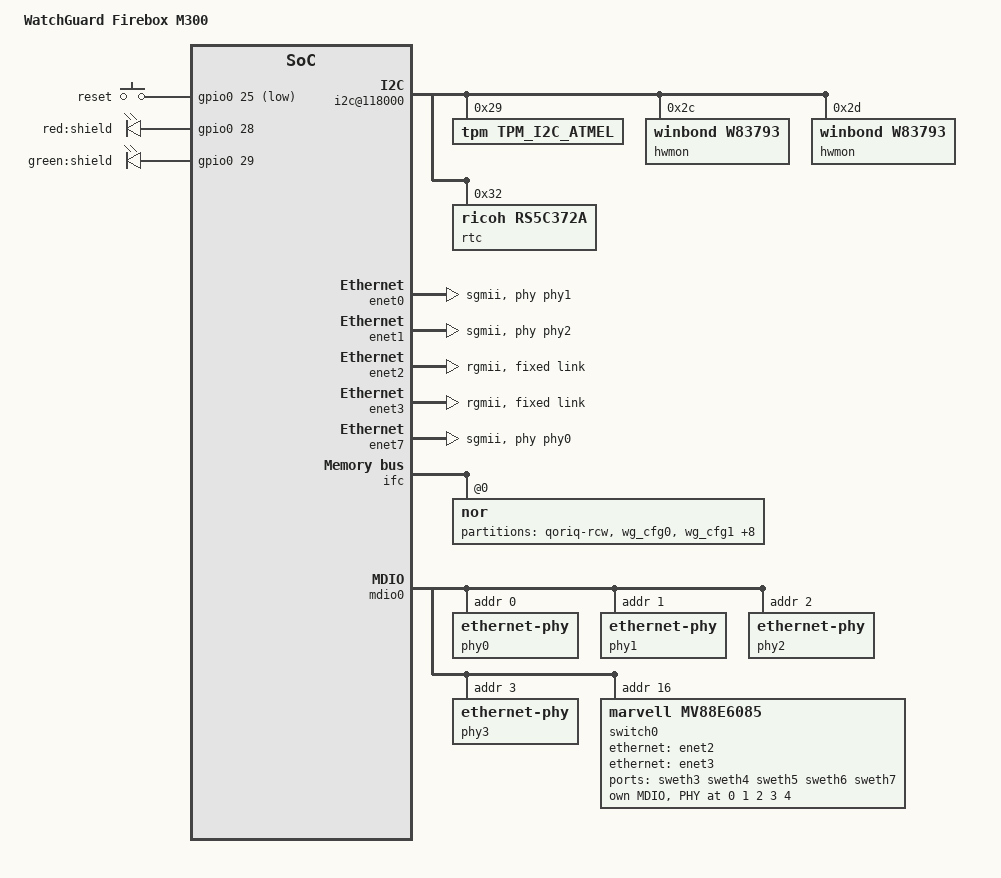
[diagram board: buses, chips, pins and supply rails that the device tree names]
// SPDX-License-Identifier: BSD-3-Clause OR GPL-2.0-or-later
/*
 * WatchGuard Firebox M300 Device Tree Source
 * Based on t2081qds.dts from Linux 5.10
 *
 * Copyright 2013 - 2015 Freescale Semiconductor Inc.
 * Copyright 2020 - 2021 Stijn Tintel <stijn@linux-ipv6.be>
 */

#include <dt-bindings/gpio/gpio.h>
#include <dt-bindings/input/input.h>

/include/ "t208xsi-pre.dtsi"
/include/ "t208xqds.dtsi"

/ {
	model = "WatchGuard Firebox M300";
	compatible = "watchguard,firebox-m300", "fsl,T2081QDS";

	interrupt-parent = <&mpic>;

	aliases {
		/delete-property/ ethernet0;
		/delete-property/ ethernet1;
		/delete-property/ ethernet2;
		/delete-property/ ethernet3;
		/delete-property/ ethernet4;
		/delete-property/ ethernet5;
		/delete-property/ ethernet6;
		/delete-property/ ethernet7;

		ethernet0 = &enet7;
		ethernet1 = &enet0;
		ethernet2 = &enet1;
		ethernet3 = &enet2;
		ethernet4 = &enet3;

		led-boot = &led_shield;
		led-failsafe = &led_shield;
		led-running = &led_shield;
		led-upgrade = &led_shield;
	};
};

&soc {
// Include first to make this the first interface
/include/ "qoriq-fman3-0-10g-1.dtsi"
};

// mdio-mux under &boardctrl + its aliases removed. causes crash:
// Oops: Machine check, sig: 7 [#1]

/include/ "t2081si-post.dtsi"

// add stuff below the include to make sure we override whatever is there

&enet0 {
	phy-connection-type = "sgmii";
	phy-handle = <&phy1>;
};

&enet1 {
	phy-connection-type = "sgmii";
	phy-handle = <&phy2>;
};

&enet2 {
	phy-connection-type = "rgmii";

	fixed-link {
		speed = <1000>;
		full-duplex;
	};
};

&enet3 {
	phy-connection-type = "rgmii";

	fixed-link {
		speed = <1000>;
		full-duplex;
	};
};

&enet4 {
	status = "disabled";
};

&enet5 {
	status = "disabled";
};

&enet6 {
	status = "disabled";
};

&enet7 {
	phy-connection-type = "sgmii";
	phy-handle = <&phy0>;
};

&ifc {
	ranges = <0x00 0x00 0x0f 0xefc00000 0x400000>;

	nor@0,0 {
		reg = <0x00 0x00 0x400000>;

		partition@0{
			reg = <0x0 0x10000>;
			label = "qoriq-rcw";
			read-only;
		};

		partition@10000 {
			reg = <0x10000 0x20000>;
			label = "wg_cfg0";
			read-only;

			nvmem-layout {
				compatible = "fixed-layout";
				#address-cells = <1>;
				#size-cells = <1>;

				macaddr_cfg_186c: macaddr@186c {
					compatible = "mac-base";
					reg = <0x186c 0x11>;
					#nvmem-cell-cells = <1>;
				};

				macaddr_cfg_1880: macaddr@1880 {
					compatible = "mac-base";
					reg = <0x1880 0x11>;
					#nvmem-cell-cells = <1>;
				};

				macaddr_cfg_1894: macaddr@1894 {
					compatible = "mac-base";
					reg = <0x1894 0x11>;
					#nvmem-cell-cells = <1>;
				};

				macaddr_cfg_18a8: macaddr@18a8 {
					compatible = "mac-base";
					reg = <0x18a8 0x11>;
					#nvmem-cell-cells = <1>;
				};

				macaddr_cfg_18bc: macaddr@18bc {
					compatible = "mac-base";
					reg = <0x18bc 0x11>;
					#nvmem-cell-cells = <1>;
				};
			};
		};

		partition@30000 {
			reg = <0x30000 0x10000>;
			label = "wg_cfg1";
			read-only;
		};

		partition@40000 {
			reg = <0x40000 0x10000>;
			label = "wg_mfg_data";
			read-only;
		};

		partition@50000 {
			reg = <0x50000 0xb0000>;
			label = "wg_bootopt_data_and_reserved";
			read-only;
		};

		partition@100000 {
			reg = <0x100000 0xb0000>;
			label = "wg_extra_reserved_1";
			read-only;
		};

		partition@1B0000 {
			reg = <0x1b0000 0xb0000>;
			label = "wg_extra_reserved_2";
			read-only;
		};

		partition@260000 {
			reg = <0x260000 0xc0000>;
			label = "wg_u-boot_failsafe";
			read-only;
		};

		partition@320000 {
			reg = <0x320000 0x10000>;
			label = "qoriq-fman";
			read-only;
		};

		partition@330000 {
			reg = <0x330000 0x10000>;
			label = "u-boot-env";
		};

		partition@340000 {
			reg = <0x340000 0xc0000>;
			label = "u-boot";
			read-only;
		};
	};

	nand@2,0 {
		status = "disabled";
	};
};

&mdio0 {
	// m300 ethernet port 0
	phy0: ethernet-phy@0 {
		reg = <0x00>;
	};

	// m300 ethernet port 1
	phy1: ethernet-phy@1 {
		reg = <0x01>;
	};

	phy2: ethernet-phy@2 {
		reg = <0x02>;
	};

	phy3: ethernet-phy@3 {
		reg = <0x03>;
	};

	switch0: switch@10 {
		compatible = "marvell,mv88e6085";
		reg = <0x10>;

		mdio {
			#address-cells = <1>;
			#size-cells = <0>;

			switch0phy0: switch0phy0@0 {
				reg = <0x00>;
				interrupt-parent = <&switch0>;
			};

			switch0phy1: switch0phy1@1 {
				reg = <0x01>;
				interrupt-parent = <&switch0>;
			};

			switch0phy2: switch0phy2@2 {
				reg = <0x02>;
				interrupt-parent = <&switch0>;
			};

			switch0phy3: switch0phy3@3 {
				reg = <0x03>;
				interrupt-parent = <&switch0>;
			};

			switch0phy4: switch0phy4@4 {
				reg = <0x04>;
				interrupt-parent = <&switch0>;
			};
		};

		ports {
			#address-cells = <1>;
			#size-cells = <0>;

			port@0 {
				reg = <0>;
				label = "sweth3";
				phy-handle = <&switch0phy0>;

				nvmem-cells = <&macaddr_cfg_186c 0>;
				nvmem-cell-names = "mac-address";
			};

			port@1 {
				reg = <1>;
				label = "sweth4";
				phy-handle = <&switch0phy1>;

				nvmem-cells = <&macaddr_cfg_1880 0>;
				nvmem-cell-names = "mac-address";
			};

			port@2 {
				reg = <2>;
				label = "sweth5";
				phy-handle = <&switch0phy2>;

				nvmem-cells = <&macaddr_cfg_1894 0>;
				nvmem-cell-names = "mac-address";
			};

			port@3 {
				reg = <3>;
				label = "sweth6";
				phy-handle = <&switch0phy3>;

				nvmem-cells = <&macaddr_cfg_18a8 0>;
				nvmem-cell-names = "mac-address";
			};

			port@4 {
				reg = <4>;
				label = "sweth7";
				phy-handle = <&switch0phy4>;

				nvmem-cells = <&macaddr_cfg_18bc 0>;
				nvmem-cell-names = "mac-address";
			};

			// OEM bootlog suggests multiple ports are attached to switch
			// Keep this until OEM supplies GPL sources
			port@5 {
				status = "disabled";

				reg = "<5>";
				ethernet = <&enet2>;
				phy-mode = "rgmii-id";

				fixed-link {
					speed = <1000>;
					full-duplex;
				};
			};

			port@6 {
				reg = <6>;
				ethernet = <&enet3>;
				phy-mode = "rgmii-id";

				fixed-link {
					speed = <1000>;
					full-duplex;
				};
			};
		};
	};
};

&soc {
	i2c@118000 {
		tpm@29 {
			compatible = "tpm,tpm_i2c_atmel";
			reg = <0x29>;
		};
		hwmon@2c {
			compatible = "winbond,w83793";
			reg = <0x2c>;
		};
		hwmon@2d {
			compatible = "winbond,w83793";
			reg = <0x2d>;
		};
		rtc@32 {
			compatible = "ricoh,rs5c372a";
			reg = <0x32>;
		};
		pca9547@77 {
			reg = <0x77>;
			status = "disabled";
		};
	};

	spi@110000 {
		// DTS decompiled from OEM DTB contains flash@0 but doesn't work
		// spi-nor spi0.0: unrecognized JEDEC id bytes: ff ff ff ff ff ff
		// disable for now
		flash@0 {
			status = "disabled";
		};

		flash@1 {
			status = "disabled";
		};

		flash@2 {
			status = "disabled";
		};
	};

	keys {
		compatible = "gpio-keys";

		reset {
			linux,code = <KEY_RESTART>;
			gpios = <&gpio0 25 GPIO_ACTIVE_LOW>;
			debounce-interval = <60>;
		};
	};

	leds {
		compatible = "gpio-leds";

		shield-red {
			label = "red:shield";
			gpios = <&gpio0 28 GPIO_ACTIVE_HIGH>;
		};

		led_shield: shield-green {
			label = "green:shield";
			gpios = <&gpio0 29 GPIO_ACTIVE_HIGH>;
		};
	};
};
